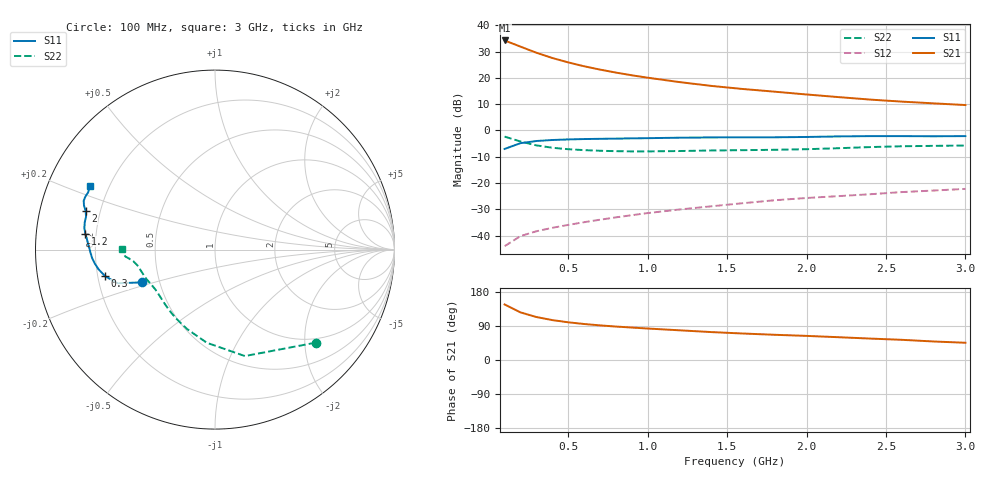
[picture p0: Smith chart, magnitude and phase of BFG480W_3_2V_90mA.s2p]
! Filename: 3_290BFG480.001
! Title: BFG480W
! Bias: Vce=3.2V; Ic=90mA
! Company: Philips Semiconductors NL
! User: Quality&Reliability T&D
! Measure time: 10 Nov 1999 / 11:57:46
#  MHz  S  MA  R 50
! Freq  S11  S21  S12  S22  :
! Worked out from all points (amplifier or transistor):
!   20 points, 100 MHz to 3 GHz, reference 50 ohm
!   highest |S21| = 34.2 dB at 100 MHz (marker M1)
!   |S21| within 3 dB of that: start of sweep to 228.2 MHz
!   unconditionally stable (mu >= 1): 733.6 MHz to end of sweep
!   at 400 MHz: K = 0.80, MSG = 32.3 dB, |S12| = -37.0 dB
!   at 1.2 GHz: K = 1.07, MAG = 22.6 dB, |S12| = -30.0 dB
!   at 3 GHz: K = 1.05, MAG = 14.5 dB, |S12| = -22.2 dB
!   S11 on the Smith chart (normalised r, x): 100 MHz: 0.40, -0.18; 300 MHz: 0.23, -0.11; 1.2 GHz: 0.16, +0.06; 2 GHz: 0.14, +0.14; 3 GHz: 0.13, +0.24
100  0.4451 -155.8  51.41 146.6  0.006313 69.5  0.7641 -42.7
200  0.5737 -160.9  39.23 125.6  0.009817 60.5  0.6159 -74.3
300  0.6301 -166.4  30.05 113.4  0.01213 59.0  0.5209 -95.0
400  0.6586 -170.5  23.88 105.3  0.0141 60.6  0.4691 -109.4
500  0.6752 -173.6  19.68 99.5  0.01601 62.7  0.4402 -119.7
600  0.6866 -176.2  16.62 95.0  0.01802 64.5  0.4228 -127.4
700  0.6934 -178.4  14.37 91.4  0.02009 66.7  0.4112 -133.3
800  0.6997 179.6  12.6 88.3  0.02227 68.3  0.4039 -138.3
900  0.7072 177.7  11.2 85.6  0.02449 70.1  0.4003 -142.5
1000  0.7135 175.9  10.07 83.1  0.02686 71.1  0.3998 -146.3
1200  0.7282 173.0  8.313 78.4  0.03146 72.7  0.4063 -152.4
1400  0.7376 170.6  7.035 73.7  0.03614 73.7  0.416 -156.9
1600  0.7415 168.3  6.139 69.9  0.04144 74.5  0.422 -160.4
1800  0.7415 165.7  5.459 66.5  0.04713 75.0  0.4291 -164.1
2000  0.7518 163.4  4.832 63.6  0.05203 75.7  0.4401 -168.3
2200  0.7704 161.3  4.312 60.2  0.0564 75.6  0.4595 -171.9
2400  0.7805 159.6  3.863 56.5  0.06128 75.0  0.4829 -174.2
2600  0.7805 157.9  3.533 53.3  0.06738 74.3  0.501 -175.6
2800  0.7755 155.7  3.275 48.9  0.07211 72.9  0.5096 -177.4
3000  0.781 153.0  3.042 45.5  0.07746 72.1  0.517 179.7
